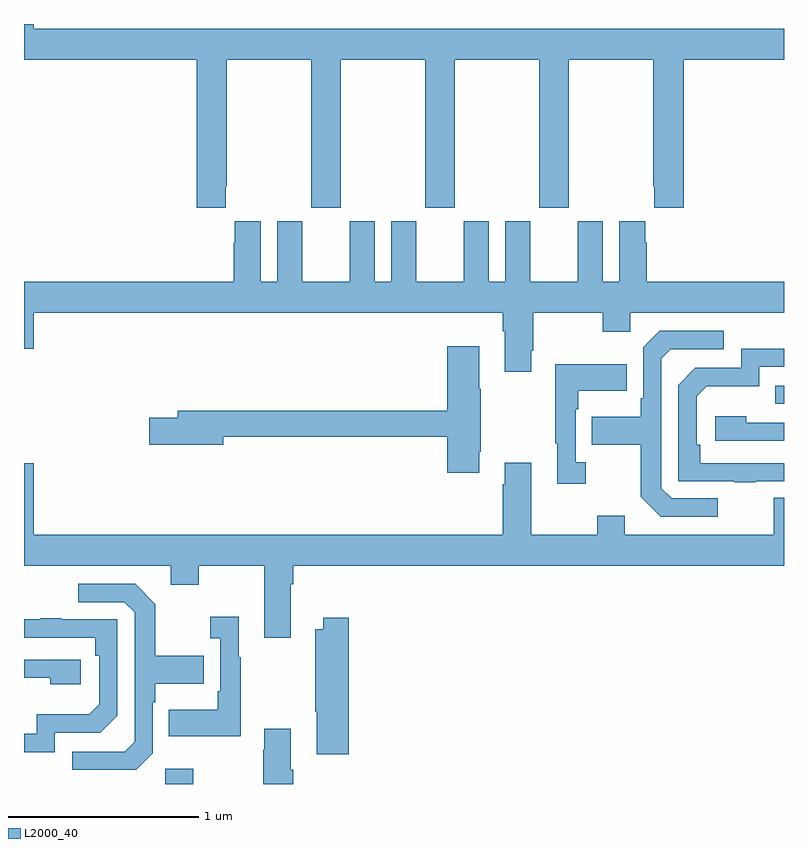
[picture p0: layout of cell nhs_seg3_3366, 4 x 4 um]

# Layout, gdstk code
import gdstk
lib = gdstk.Library(unit=1e-6, precision=1e-09)
def R(c, l, rs):  # rectangles x0, y0, x1, y1
    for r in rs: c.add(gdstk.rectangle(r[:2], r[2:], *l))
def P(c, l, *ps):  # polygons
    for p in ps: c.add(gdstk.Polygon(p, *l))
L2000_40 = (2000, 40)

nhs_seg3_3366 = lib.new_cell('nhs_seg3_3366')
R(nhs_seg3_3366, L2000_40, [(285.744,734.4,285.891,734.479), (288.955,736.401,289,736.497)])
P(nhs_seg3_3366, L2000_40, [(286.063,737.545),(286.068,737.545),(286.068,738.212),(286.513,738.212),(286.513,737.433),(286.668,737.433),(286.668,738.212),(287.113,738.212),(287.113,737.433),(287.268,737.433),(287.268,738.212),(287.713,738.212),(287.713,737.433),(287.868,737.433),(287.868,738.212),(288.313,738.212),(288.313,737.545),(288.317,737.545),(288.317,737.433),(288.473,737.433),(288.473,738.212),(289,738.212),(289,738.376),(285.052,738.376),(285.052,738.4),(285,738.4),(285,738.212),(285.908,738.212),(285.908,737.433),(286.063,737.433)],
  [(287.519,736.784),(287.531,736.784),(287.531,736.569),(287.671,736.569),(287.671,736.681),(287.679,736.681),(287.679,736.88),(288.046,736.88),(288.046,736.781),(288.192,736.781),(288.192,736.88),(289,736.88),(289,737.044),(288.278,737.044),(288.278,737.249),(288.271,737.249),(288.271,737.362),(288.134,737.362),(288.134,737.044),(288.046,737.044),(288.046,737.362),(287.915,737.362),(287.915,737.044),(287.665,737.044),(287.665,737.362),(287.534,737.362),(287.534,737.044),(287.446,737.044),(287.446,737.362),(287.315,737.362),(287.315,737.044),(287.065,737.044),(287.065,737.362),(286.934,737.362),(286.934,737.044),(286.846,737.044),(286.846,737.362),(286.715,737.362),(286.715,737.044),(286.465,737.044),(286.465,737.362),(286.334,737.362),(286.334,737.044),(286.246,737.044),(286.246,737.362),(286.109,737.362),(286.109,737.249),(286.103,737.249),(286.103,737.044),(285,737.044),(285,736.692),(285.052,736.692),(285.052,736.88),(287.519,736.88)],
  [(288.652,735.903),(288.408,735.903),(288.354,735.957),(288.354,736.638),(288.405,736.689),(288.682,736.689),(288.682,736.785),(288.345,736.785),(288.258,736.698),(288.258,736.429),(288.246,736.429),(288.246,736.333),(287.989,736.333),(287.989,736.186),(288.246,736.186),(288.246,735.913),(288.351,735.807),(288.652,735.807)],
  [(287.395,736.15),(287.403,736.15),(287.403,736.481),(287.395,736.481),(287.395,736.705),(287.228,736.705),(287.228,736.364),(285.809,736.364),(285.809,736.328),(285.66,736.328),(285.66,736.186),(286.048,736.186),(286.048,736.228),(287.228,736.228),(287.228,736.038),(287.395,736.038)],
  [(288.851,735.993),(289,735.993),(289,736.089),(288.56,736.089),(288.56,736.186),(288.54,736.186),(288.54,736.44),(288.593,736.493),(288.87,736.493),(288.87,736.596),(289,736.596),(289,736.692),(288.774,736.692),(288.774,736.59),(288.534,736.59),(288.444,736.5),(288.444,735.993),(288.739,735.993),(288.739,735.988),(288.851,735.988)],
  [(287.956,736.094),(287.904,736.094),(287.904,736.373),(287.917,736.373),(287.917,736.469),(288.173,736.469),(288.173,736.609),(287.796,736.609),(287.796,736.193),(287.807,736.193),(287.807,735.981),(287.956,735.981)],
  [(289,736.302),(288.8,736.302),(288.8,736.336),(288.639,736.336),(288.639,736.206),(289,736.206)],
  [(286.405,735.452),(286.418,735.452),(286.418,735.548),(289,735.548),(289,735.907),(288.947,735.907),(288.947,735.712),(288.163,735.712),(288.163,735.811),(288.016,735.811),(288.016,735.712),(287.671,735.712),(287.671,736.09),(287.531,736.09),(287.531,735.977),(287.519,735.977),(287.519,735.712),(285.052,735.712),(285.052,736.087),(285,736.087),(285,735.548),(285.773,735.548),(285.773,735.449),(285.921,735.449),(285.921,735.548),(286.265,735.548),(286.265,735.171),(286.405,735.171)],
  [(285.678,734.562),(285.678,734.831),(285.691,734.831),(285.691,734.927),(285.947,734.927),(285.947,735.075),(285.691,735.075),(285.691,735.347),(285.585,735.453),(285.285,735.453),(285.285,735.357),(285.528,735.357),(285.582,735.303),(285.582,734.622),(285.531,734.571),(285.255,734.571),(285.255,734.475),(285.591,734.475)],
  [(286.141,735.067),(286.129,735.067),(286.129,735.28),(285.981,735.28),(285.981,735.167),(286.032,735.167),(286.032,734.887),(286.02,734.887),(286.02,734.791),(285.763,734.791),(285.763,734.651),(286.141,734.651)],
  [(286.709,735.274),(286.574,735.274),(286.574,735.214),(286.534,735.214),(286.534,734.779),(286.541,734.779),(286.541,734.556),(286.709,734.556)],
  [(285.162,734.67),(285.402,734.67),(285.492,734.76),(285.492,735.267),(285.197,735.267),(285.197,735.272),(285.085,735.272),(285.085,735.267),(285,735.267),(285,735.171),(285.376,735.171),(285.376,735.074),(285.396,735.074),(285.396,734.82),(285.343,734.767),(285.066,734.767),(285.066,734.664),(285,734.664),(285,734.568),(285.162,734.568)],
  [(285.298,735.054),(285,735.054),(285,734.958),(285.137,734.958),(285.137,734.924),(285.298,734.924)],
  [(286.418,734.476),(286.405,734.476),(286.405,734.692),(286.265,734.692),(286.265,734.579),(286.258,734.579),(286.258,734.4),(286.418,734.4)])

lib.write_gds('nhs_seg3_3366.gds')
